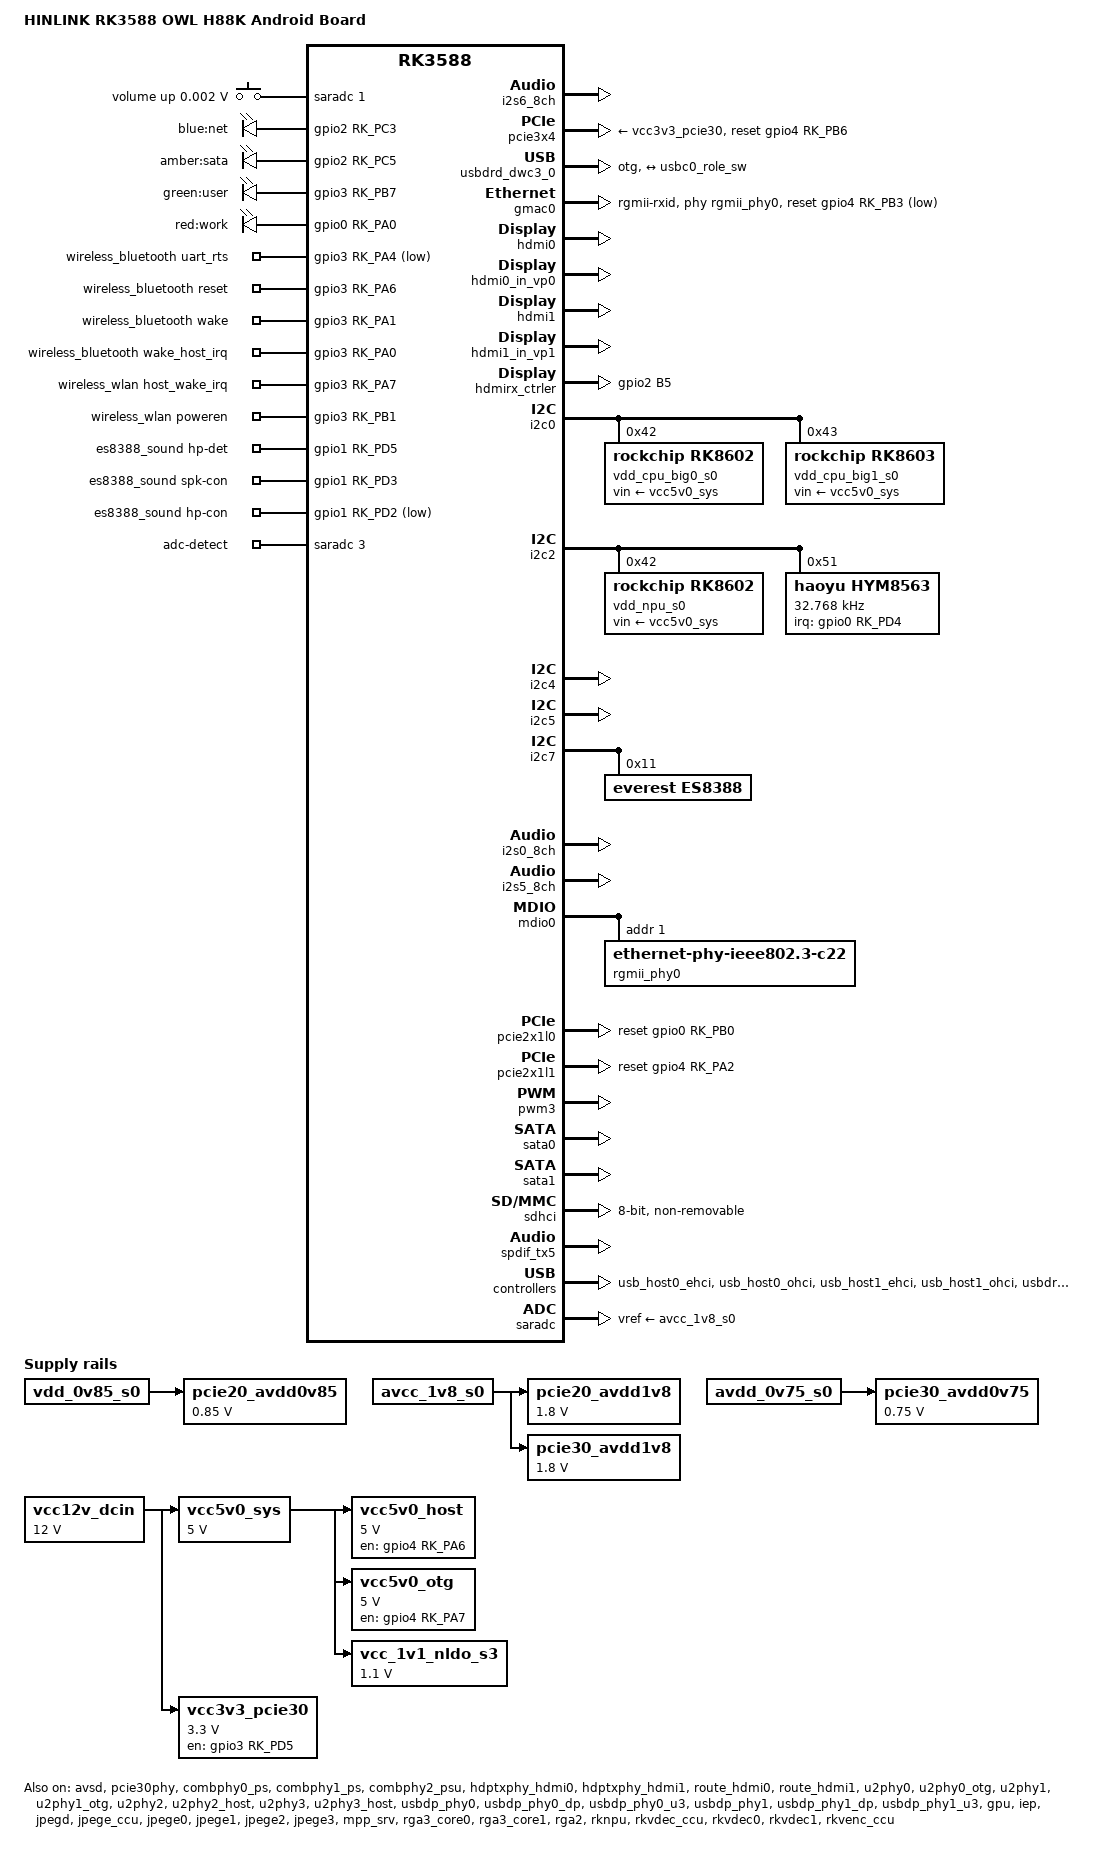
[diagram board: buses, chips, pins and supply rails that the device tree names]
// SPDX-License-Identifier: (GPL-2.0+ OR MIT)
/*
 * Copyright (c) 2021 Rockchip Electronics Co., Ltd.
 *
 */

/dts-v1/;
#include "dt-bindings/usb/pd.h"
#include <dt-bindings/gpio/gpio.h>
#include <dt-bindings/pwm/pwm.h>
#include <dt-bindings/pinctrl/rockchip.h>
#include <dt-bindings/input/rk-input.h>
#include <dt-bindings/display/drm_mipi_dsi.h>
#include <dt-bindings/display/rockchip_vop.h>
#include <dt-bindings/sensor-dev.h>
#include "rk3588.dtsi"
#include "rk3588-rk806-single.dtsi"
#include "rk3588-android.dtsi"

/ {
	model = "HINLINK RK3588 OWL H88K Android Board";
	compatible = "hinlink,rk3588-hinlink-h88k", "rockchip,rk3588";
	/* If hdmirx node is disabled, delete the reserved-memory node here. */
	reserved-memory {
		#address-cells = <2>;
		#size-cells = <2>;
		ranges;

		/* Reserve 128MB memory for hdmirx-controller@fdee0000 */
		cma {
			compatible = "shared-dma-pool";
			reusable;
			reg = <0x0 (256 * 0x100000) 0x0 (128 * 0x100000)>;
			linux,cma-default;
		};
	};

	adc_keys: adc-keys {
		compatible = "adc-keys";
		io-channels = <&saradc 1>;
		io-channel-names = "buttons";
		keyup-threshold-microvolt = <1800000>;
		poll-interval = <100>;

		vol-up-key {
			label = "volume up";
			linux,code = <KEY_VOLUMEUP>;
			press-threshold-microvolt = <1750>;
		};
	};

	hdmiin_dc: hdmiin-dc {
		compatible = "rockchip,dummy-codec";
		#sound-dai-cells = <0>;
	};

	hdmiin-sound {
		compatible = "simple-audio-card";
		simple-audio-card,format = "i2s";
		simple-audio-card,name = "rockchip,hdmiin";
		simple-audio-card,bitclock-master = <&dailink0_master>;
		simple-audio-card,frame-master = <&dailink0_master>;
		status = "okay";
		simple-audio-card,cpu {
			sound-dai = <&i2s7_8ch>;
		};
		dailink0_master: simple-audio-card,codec {
			sound-dai = <&hdmiin_dc>;
		};
	};


	leds {
		compatible = "gpio-leds";
		pinctrl-names = "default";
		pinctrl-0 = <&led_net_en>, <&led_sata_en>,
			    <&led_user_en>, <&led_work_en>;

		net {
			label = "blue:net";
			gpios = <&gpio2 RK_PC3 GPIO_ACTIVE_HIGH>;
		};

		sata {
			label = "amber:sata";
			gpios = <&gpio2 RK_PC5 GPIO_ACTIVE_HIGH>;
		};

		user {
			label = "green:user";
			gpios = <&gpio3 RK_PB7 GPIO_ACTIVE_HIGH>;
		};

		work {
			label = "red:work";
			gpios = <&gpio0 RK_PA0 GPIO_ACTIVE_HIGH>;
			linux,default-trigger = "default-on";
		};
	};

	vcc12v_dcin: vcc12v-dcin {
		compatible = "regulator-fixed";
		regulator-name = "vcc12v_dcin";
		regulator-always-on;
		regulator-boot-on;
		regulator-min-microvolt = <12000000>;
		regulator-max-microvolt = <12000000>;
	};

	vcc5v0_sys: vcc5v0-sys {
		compatible = "regulator-fixed";
		regulator-name = "vcc5v0_sys";
		regulator-always-on;
		regulator-boot-on;
		regulator-min-microvolt = <5000000>;
		regulator-max-microvolt = <5000000>;
		vin-supply = <&vcc12v_dcin>;
	};

	vcc5v0_host: vcc5v0-host-regulator {
		compatible = "regulator-fixed";
		regulator-name = "vcc5v0_host";
		regulator-boot-on;
		regulator-always-on;
		regulator-min-microvolt = <5000000>;
		regulator-max-microvolt = <5000000>;
		enable-active-high;
		gpio = <&gpio4 RK_PA6 GPIO_ACTIVE_HIGH>;
		vin-supply = <&vcc5v0_sys>;
		pinctrl-names = "default";
		pinctrl-0 = <&vcc5v0_host_en>;
	};

	vcc5v0_otg: vcc5v0-otg-regulator {
		compatible = "regulator-fixed";
		regulator-name = "vcc5v0_otg";
		regulator-min-microvolt = <5000000>;
		regulator-max-microvolt = <5000000>;
		enable-active-high;
		gpio = <&gpio4 RK_PA7 GPIO_ACTIVE_HIGH>;
		vin-supply = <&vcc5v0_sys>;
		pinctrl-names = "default";
		pinctrl-0 = <&vcc5v0_otg_en>;
	};

	pcie20_avdd0v85: pcie20-avdd0v85 {
		compatible = "regulator-fixed";
		regulator-name = "pcie20_avdd0v85";
		regulator-boot-on;
		regulator-always-on;
		regulator-min-microvolt = <850000>;
		regulator-max-microvolt = <850000>;
		vin-supply = <&vdd_0v85_s0>;
	};

	pcie20_avdd1v8: pcie20-avdd1v8 {
		compatible = "regulator-fixed";
		regulator-name = "pcie20_avdd1v8";
		regulator-boot-on;
		regulator-always-on;
		regulator-min-microvolt = <1800000>;
		regulator-max-microvolt = <1800000>;
		vin-supply = <&avcc_1v8_s0>;
	};

	pcie30_avdd0v75: pcie30-avdd0v75 {
		compatible = "regulator-fixed";
		regulator-name = "pcie30_avdd0v75";
		regulator-boot-on;
		regulator-always-on;
		regulator-min-microvolt = <750000>;
		regulator-max-microvolt = <750000>;
		vin-supply = <&avdd_0v75_s0>;
	};

	pcie30_avdd1v8: pcie30-avdd1v8 {
		compatible = "regulator-fixed";
		regulator-name = "pcie30_avdd1v8";
		regulator-boot-on;
		regulator-always-on;
		regulator-min-microvolt = <1800000>;
		regulator-max-microvolt = <1800000>;
		vin-supply = <&avcc_1v8_s0>;
	};

	vcc3v3_pcie30: vcc3v3-pcie30 {
		compatible = "regulator-fixed";
		regulator-name = "vcc3v3_pcie30";
		regulator-min-microvolt = <3300000>;
		regulator-max-microvolt = <3300000>;
		enable-active-high;
		gpios = <&gpio3 RK_PD5 GPIO_ACTIVE_HIGH>;
		startup-delay-us = <5000>;
		vin-supply = <&vcc12v_dcin>;
	};

	vcc_1v1_nldo_s3: vcc-1v1-nldo-s3 {
		compatible = "regulator-fixed";
		regulator-name = "vcc_1v1_nldo_s3";
		regulator-always-on;
		regulator-boot-on;
		regulator-min-microvolt = <1100000>;
		regulator-max-microvolt = <1100000>;
		vin-supply = <&vcc5v0_sys>;
	};

	dp0_sound: dp0-sound {
		status = "disabled";
		compatible = "rockchip,hdmi";
		rockchip,card-name= "rockchip,dp0";
		rockchip,mclk-fs = <512>;
		rockchip,cpu = <&spdif_tx2>;
		rockchip,codec = <&dp0 1>;
		rockchip,jack-det;
	};

	dp1_sound: dp1-sound {
		status = "disabled";
		compatible = "rockchip,hdmi";
		rockchip,card-name= "rockchip,dp1";
		rockchip,mclk-fs = <512>;
		rockchip,cpu = <&spdif_tx5>;
		rockchip,codec = <&dp1 1>;
		rockchip,jack-det;
	};

	hdmi0_sound: hdmi0-sound {
		status = "disabled";
		compatible = "simple-audio-card";
		simple-audio-card,format = "i2s";
		simple-audio-card,mclk-fs = <128>;
		simple-audio-card,name = "rockchip,hdmi0";

		simple-audio-card,cpu {
			sound-dai = <&i2s5_8ch>;
		};
		simple-audio-card,codec {
			sound-dai = <&hdmi0>;
		};
	};

	hdmi1_sound: hdmi1-sound {
		status = "disabled";
		compatible = "simple-audio-card";
		simple-audio-card,format = "i2s";
		simple-audio-card,mclk-fs = <128>;
		simple-audio-card,name = "rockchip,hdmi1";

		simple-audio-card,cpu {
			sound-dai = <&i2s6_8ch>;
		};
		simple-audio-card,codec {
			sound-dai = <&hdmi1>;
		};
	};
	
	wireless_bluetooth: wireless-bluetooth {
		compatible = "bluetooth-platdata";
		clocks = <&hym8563>;
		clock-names = "ext_clock";
		uart_rts_gpios = <&gpio3 RK_PA4 GPIO_ACTIVE_LOW>;	//GPIO3_A4_d UART8_RTSn_M1_BT
		pinctrl-names = "default", "rts_gpio";
		pinctrl-0 = <&uart8m1_rtsn>, <&bt_reset_gpio>, <&bt_wake_gpio>, <&bt_irq_gpio>;
		pinctrl-1 = <&uart8_gpios>;
		BT,reset_gpio    = <&gpio3 RK_PA6 GPIO_ACTIVE_HIGH>;	//GPIO3_A6_d BT_REG_ON_H
		BT,wake_gpio     = <&gpio3 RK_PA1 GPIO_ACTIVE_HIGH>;	//GPIO3_A1_u HOST_WAKE_BT_H
		BT,wake_host_irq = <&gpio3 RK_PA0 GPIO_ACTIVE_HIGH>;	//GPIO3_A0_u BT_WAKE_HOST_H
		status = "okay";
	};

	wireless_wlan: wireless-wlan {
		compatible = "wlan-platdata";
		wifi_chip_type = "ap6255";
		pinctrl-names = "default";
		pinctrl-0 = <&wifi_host_wake_irq>, <&wifi_poweren_gpio>;
		WIFI,host_wake_irq = <&gpio3 RK_PA7 GPIO_ACTIVE_HIGH>;		//GPIO3_A7_u WIFI_WAKE_HOST_H
		WIFI,poweren_gpio = <&gpio3 RK_PB1 GPIO_ACTIVE_HIGH>;		//GPIO3_B1_d WIFI_REG_ON_H
		status = "okay";
	};

	es8388_sound: es8388-sound {
		status = "okay";
		compatible = "rockchip,multicodecs-card";
		rockchip,card-name = "rockchip-es8388";
		hp-det-gpio = <&gpio1 RK_PD5 GPIO_ACTIVE_HIGH>;	// GPIO1_D5_d HP_DET_L
		io-channels = <&saradc 3>;
		io-channel-names = "adc-detect";
		keyup-threshold-microvolt = <1800000>;
		poll-interval = <100>;
		spk-con-gpio = <&gpio1 RK_PD3 GPIO_ACTIVE_HIGH>;	// GPIO1_D3_d SPK_CTL_H
		hp-con-gpio = <&gpio1 RK_PD2 GPIO_ACTIVE_LOW>;		//GPIO1_D2_d PHONE_CTL
		rockchip,format = "i2s";
		rockchip,mclk-fs = <256>;
		rockchip,cpu = <&i2s0_8ch>;
		rockchip,codec = <&es8388>;
		rockchip,audio-routing =
			"Headphone", "LOUT1",
			"Headphone", "ROUT1",
			"Speaker", "LOUT2",
			"Speaker", "ROUT2",
			"Headphone", "Headphone Power",
			"Headphone", "Headphone Power",
			"Speaker", "Speaker Power",
			"Speaker", "Speaker Power",
			"LINPUT1", "Main Mic",
			"LINPUT2", "Main Mic",
			"RINPUT1", "Headset Mic",
			"RINPUT2", "Headset Mic";
		pinctrl-names = "default";
		pinctrl-0 = <&hp_det>;
		play-pause-key {
			label = "playpause";
			linux,code = <KEY_PLAYPAUSE>;
			press-threshold-microvolt = <2000>;
		};
	};
	
	test-power {
		status = "okay";
	};
};

&avsd {
	status = "okay";
};

&i2s6_8ch {
	status = "disabled";
};

&pcie30phy {
	status = "disabled";
};

&pcie3x4 {
	status = "disabled";
};

&usbdrd_dwc3_0 {
	dr_mode = "otg";
	extcon = <&u2phy0>;
	status = "okay";
};

&combphy0_ps {
	pinctrl-names = "default";
	pinctrl-0 = <&sata0_pm_reset>;
	status = "okay";
};

&combphy1_ps {
	pinctrl-names = "default";
	pinctrl-0 = <&sata1_pm_reset>;
	status = "okay";
};

&combphy2_psu {
	status = "okay";
};

&dp0 {
	pinctrl-0 = <&dp0m2_pins>;
	pinctrl-names = "default";
	status = "disabled";
};

&dp0_in_vp0 {
	status = "disabled";
};

&dp0_in_vp1 {
	status = "disabled";
};

&dp0_in_vp2 {
	status = "disabled";
};

&dp1 {
	pinctrl-0 = <&dp1m2_pins &dp1_hdmi_ctl>;
	pinctrl-names = "default";
	status = "disabled";
};

&dp1_in_vp0 {
	status = "disabled";
};

&dp1_in_vp1 {
	status = "disabled";
};

&dp1_in_vp2 {
	status = "disabled";
};

&dp1_sound {
	status = "disabled";
};

&gmac0 {
	/* Use rgmii-rxid mode to disable rx delay inside Soc */
	phy-mode = "rgmii-rxid";
	clock_in_out = "output";

	snps,reset-gpio = <&gpio4 RK_PB3 GPIO_ACTIVE_LOW>;
	snps,reset-active-low;
	/* Reset time is 20ms, 100ms for rtl8211f */
	snps,reset-delays-us = <0 20000 100000>;

	pinctrl-names = "default";
	pinctrl-0 = <&gmac0_miim
		     &gmac0_tx_bus2
		     &gmac0_rx_bus2
		     &gmac0_rgmii_clk
		     &gmac0_rgmii_bus>;

	tx_delay = <0x44>;
	/* rx_delay = <0x4f>; */

	phy-handle = <&rgmii_phy0>;
	status = "okay";
};

&hdmi0 {
	enable-gpios = <&gpio4 RK_PB1 GPIO_ACTIVE_HIGH>;
	status = "okay";
};

&hdmi0_in_vp0 {
	status = "okay";
};

&hdmi0_in_vp1 {
	status = "disabled";
};

&hdmi0_in_vp2 {
	status = "disabled";
};

&hdmi0_sound {
	status = "okay";
};

&hdmi1 {
	enable-gpios = <&gpio4 RK_PB2 GPIO_ACTIVE_HIGH>;
	status = "okay";
};

&hdmi1_in_vp0 {
	status = "disabled";
};

&hdmi1_in_vp1 {
	status = "okay";
};

&hdmi1_in_vp2 {
	status = "disabled";
};

&hdmi1_sound {
	status = "okay";
};

/* Should work with at least 128MB cma reserved above. */
&hdmirx_ctrler {
	status = "okay";

	/* Effective level used to trigger HPD: 0-low, 1-high */
	hpd-trigger-level = <1>;
	hdmirx-det-gpios = <&gpio2 RK_PB5 GPIO_ACTIVE_LOW>;
	pinctrl-names = "default";
	pinctrl-0 = <&hdmim1_rx &hdmirx_det>;
};

&hdptxphy_hdmi0 {
	status = "okay";
};

&hdptxphy_hdmi1 {
	status = "okay";
};

&i2c0 {
	status = "okay";
	pinctrl-names = "default";
	pinctrl-0 = <&i2c0m2_xfer>;

	vdd_cpu_big0_s0: vdd_cpu_big0_mem_s0: rk8602@42 {
		compatible = "rockchip,rk8602";
		reg = <0x42>;
		vin-supply = <&vcc5v0_sys>;
		regulator-compatible = "rk860x-reg";
		regulator-name = "vdd_cpu_big0_s0";
		regulator-min-microvolt = <550000>;
		regulator-max-microvolt = <1050000>;
		regulator-ramp-delay = <2300>;
		rockchip,suspend-voltage-selector = <1>;
		regulator-boot-on;
		regulator-always-on;
		regulator-state-mem {
			regulator-off-in-suspend;
		};
	};

	vdd_cpu_big1_s0: vdd_cpu_big1_mem_s0: rk8603@43 {
		compatible = "rockchip,rk8603";
		reg = <0x43>;
		vin-supply = <&vcc5v0_sys>;
		regulator-compatible = "rk860x-reg";
		regulator-name = "vdd_cpu_big1_s0";
		regulator-min-microvolt = <550000>;
		regulator-max-microvolt = <1050000>;
		regulator-ramp-delay = <2300>;
		rockchip,suspend-voltage-selector = <1>;
		regulator-boot-on;
		regulator-always-on;
		regulator-state-mem {
			regulator-off-in-suspend;
		};
	};
};

&i2c2 {
	status = "okay";

	vdd_npu_s0: vdd_npu_mem_s0: rk8602@42 {
		compatible = "rockchip,rk8602";
		reg = <0x42>;
		vin-supply = <&vcc5v0_sys>;
		regulator-compatible = "rk860x-reg";
		regulator-name = "vdd_npu_s0";
		regulator-min-microvolt = <550000>;
		regulator-max-microvolt = <950000>;
		regulator-ramp-delay = <2300>;
		rockchip,suspend-voltage-selector = <1>;
		regulator-boot-on;
		regulator-always-on;
		regulator-state-mem {
			regulator-off-in-suspend;
		};
	};


	hym8563: hym8563@51 {
		compatible = "haoyu,hym8563";
		reg = <0x51>;
		#clock-cells = <0>;
		clock-frequency = <32768>;
		clock-output-names = "hym8563";
		pinctrl-names = "default";
		pinctrl-0 = <&hym8563_int>;
		interrupt-parent = <&gpio0>;
		interrupts = <RK_PD4 IRQ_TYPE_LEVEL_LOW>;	//GPIO0_D4_u RTC_INT_L
		wakeup-source;
	};
};

&i2c4 {
	status = "okay";
	pinctrl-names = "default";
	pinctrl-0 = <&i2c4m3_xfer>;
};

&i2c5 {
	status = "okay";
};

&i2c7 {
	status = "okay";
	es8388: es8388@11 {
		status = "okay";
		#sound-dai-cells = <0>;
		compatible = "everest,es8388", "everest,es8323";
		reg = <0x11>;
		clocks = <&cru I2S0_8CH_MCLKOUT>;
		clock-names = "mclk";
		assigned-clocks = <&cru I2S0_8CH_MCLKOUT>;
		assigned-clock-rates = <12288000>;
		pinctrl-names = "default";
		pinctrl-0 = <&i2s0_mclk>;
	};
};

&i2s0_8ch {
	status = "okay";
	pinctrl-0 = <&i2s0_lrck
		     &i2s0_sclk
		     &i2s0_sdi0
		     &i2s0_sdo0>;
};

&i2s5_8ch {
	status = "okay";
};

&i2s6_8ch {
	status = "okay";
};

&mdio0 {
	rgmii_phy0: phy@1 {
		compatible = "ethernet-phy-ieee802.3-c22";
		reg = <0x1>;
	};
};

&pcie2x1l0 {
	reset-gpios = <&gpio0 RK_PB0 GPIO_ACTIVE_HIGH>;
	status = "okay";
};

&pcie2x1l1 {
	reset-gpios = <&gpio4 RK_PA2 GPIO_ACTIVE_HIGH>;
	status = "okay";
};

&pcie3x4 {
	reset-gpios = <&gpio4 RK_PB6 GPIO_ACTIVE_HIGH>;
	vpcie3v3-supply = <&vcc3v3_pcie30>;
	status = "okay";
};

&pcie30phy {
	rockchip,pcie30-phymode = <PHY_MODE_PCIE_AGGREGATION>;
	status = "okay";
};

&pwm3 {
	compatible = "rockchip,remotectl-pwm";
	pinctrl-names = "default";
	pinctrl-0 = <&pwm3m0_pins>;
	remote_pwm_id = <3>;
	handle_cpu_id = <1>;
	remote_support_psci = <0>;
	status = "okay";

	ir_key1 {
		rockchip,usercode = <0xff00>;
		rockchip,key_table =
			<0xe7	KEY_POWER>,	
			<0xa4	KEY_MUTE>,	
			<0xb9	KEY_UP>,	
			<0xe9	KEY_DOWN>,	
			<0xb8	KEY_LEFT>,
			<0xea	KEY_RIGHT>,
			<0xaa	KEY_ENTER>,
			<0xbf	KEY_BACK>,
			<0xfb	KEY_MENU>,
			<0xef	KEY_VOLUMEDOWN>,
			<0xeb	KEY_VOLUMEUP>,	
			<0xaf	KEY_PAGEUP>,	
			<0xad	KEY_PAGEDOWN>,				
			<0xb1	KEY_HOME>,	
			<0xb0	KEY_F1>,	
			<0xe3	KEY_F2>;		
	};

};

&rk806single {
	pinctrl-names = "default", "pmic-power-off";
	pinctrl-0 = <&pmic_pins>, <&rk806_dvs1_null>, <&rk806_dvs2_null>, <&rk806_dvs3_null>;
	pinctrl-1 = <&rk806_dvs1_slp>, <&rk806_dvs2_null>, <&rk806_dvs3_null>;

	regulators {
		avcc_1v8_s0: PLDO_REG1 {
			regulator-always-on;
			regulator-boot-on;
			regulator-min-microvolt = <1800000>;
			regulator-max-microvolt = <1800000>;
			regulator-name = "avcc_1v8_s0";
			regulator-state-mem {
				regulator-on-in-suspend;
				regulator-suspend-microvolt = <1800000>;
			};
		};
	};
};

&rockchip_suspend {
	status = "okay";
	rockchip,sleep-debug-en = <1>;
	rockchip,virtual-poweroff = <1>;
	rockchip,sleep-mode-config = <
		(0
		| RKPM_SLP_ARMOFF_DDRPD
		)
	>;
	rockchip,wakeup-config = <
		(0
		| RKPM_CPU0_WKUP_EN
		| RKPM_GPIO_WKUP_EN
		)
	>;
};

&route_dp0 {
	status = "disabled";
	force-output;
	connect = <&vp2_out_dp0>;

};

&route_hdmi0 {
	status = "okay";
	force-output;
	connect = <&vp0_out_hdmi0>;
};

&route_hdmi1 {
	status = "okay";
	force-output;
	connect = <&vp1_out_hdmi1>;
};

&sata0 {
	status = "okay";
};

&sata1 {
	status = "okay";
};

&sdhci {
	bus-width = <8>;
	no-sdio;
	no-sd;
	non-removable;
	max-frequency = <200000000>;
	mmc-hs400-1_8v;
	mmc-hs400-enhanced-strobe;
	status = "okay";
};

&spdif_tx5 {
	status = "okay";
};

&u2phy0 {
	status = "okay";
};

&u2phy0_otg {
	vbus-supply = <&vcc5v0_usb_otg>;
	status = "okay";
};

&u2phy1 {
	status = "okay";
};

&u2phy1_otg {
	phy-supply = <&vcc5v0_usb_host>;
	status = "okay";
};

&u2phy2 {
	status = "okay";
};

&u2phy2_host {
	status = "okay";
};

&u2phy3 {
	status = "okay";
};

&u2phy3_host {
	status = "okay";
};

&usb_host0_ehci {
	status = "okay";
};

&usb_host0_ohci {
	status = "okay";
};

&usb_host1_ehci {
	status = "okay";
};

&usb_host1_ohci {
	status = "okay";
};

&usbdp_phy0 {
	orientation-switch;
	rockchip,dp-lane-mux = < 0 1 2 3 >;
	sbu1-dc-gpios = <&gpio0 RK_PC6 GPIO_ACTIVE_HIGH>;
	sbu2-dc-gpios = <&gpio0 RK_PD3 GPIO_ACTIVE_HIGH>;
	svid = <0xff01>;
	status = "okay";

	port {
		#address-cells = <1>;
		#size-cells = <0>;
		usbdp_phy0_orientation_switch: endpoint@0 {
			reg = <0>;
			remote-endpoint = <&usbc0_orien_sw>;
		};

		usbdp_phy0_dp_altmode_mux: endpoint@1 {
			reg = <1>;
			remote-endpoint = <&dp_altmode_mux>;
		};
	};
};

&usbdp_phy0_dp {
	status = "okay";
};

&usbdp_phy0_u3 {
	status = "okay";
};

&usbdp_phy1 {
	status = "okay";
};

&usbdp_phy1_dp {
	status = "okay";
};

&usbdp_phy1_u3 {
	status = "okay";
};

&usbdrd3_0 {
	status = "okay";
};

&usbdrd_dwc3_0 {
	usb-role-switch;
	status = "okay";

	port {
		#address-cells = <1>;
		#size-cells = <0>;
		dwc3_0_role_switch: endpoint@0 {
			reg = <0>;
			remote-endpoint = <&usbc0_role_sw>;
		};
	};
};

&usbdrd3_1 {
	status = "okay";
};

&usbdrd_dwc3_1 {
	status = "okay";
};

&vdd_log_s0 {
	regulator-state-mem {
		regulator-on-in-suspend;
		regulator-suspend-microvolt = <750000>;
	};
};

&pcie2x1l1 {
	reset-gpios = <&gpio4 RK_PA2 GPIO_ACTIVE_HIGH>;
	status = "okay";
};

&sata2 {
	status = "disabled";
}; 

&combphy2_psu {
	status = "okay";
};

&vdd_vdenc_s0 {
	regulator-init-microvolt = <750000>;
};

&av1d_mmu {
	status = "okay";
};

&display_subsystem {
	clocks = <&hdptxphy_hdmi_clk0>, <&hdptxphy_hdmi_clk1>;
	clock-names = "hdmi0_phy_pll", "hdmi1_phy_pll";
};

&gpu {
	mali-supply = <&vdd_gpu_s0>;
	mem-supply = <&vdd_gpu_mem_s0>;
	status = "okay";
};

&hdptxphy_hdmi_clk0 {
	status = "okay";
};

&hdptxphy_hdmi_clk1 {
	status = "okay";
};

&iep {
	status = "okay";
};

&iep_mmu {
	status = "okay";
};

&jpegd {
	status = "okay";
};

&jpegd_mmu {
	status = "okay";
};

&jpege_ccu {
	status = "okay";
};

&jpege0 {
	status = "okay";
};

&jpege0_mmu {
	status = "okay";
};

&jpege1 {
	status = "okay";
};

&jpege1_mmu {
	status = "okay";
};

&jpege2 {
	status = "okay";
};

&jpege2_mmu {
	status = "okay";
};

&jpege3 {
	status = "okay";
};

&jpege3_mmu {
	status = "okay";
};

&mpp_srv {
	status = "okay";
};

&rga3_core0 {
	status = "okay";
};

&rga3_0_mmu {
	status = "okay";
};

&rga3_core1 {
	status = "okay";
};

&rga3_1_mmu {
	status = "okay";
};

&rga2 {
	status = "okay";
};

&rknpu {
	rknpu-supply = <&vdd_npu_s0>;
	mem-supply = <&vdd_npu_mem_s0>;
	status = "okay";
};

&rknpu_mmu {
	status = "okay";
};

&rkvdec_ccu {
	status = "okay";
};

&rkvdec0 {
	status = "okay";
};

&rkvdec0_mmu {
	status = "okay";
};

&rkvdec1 {
	status = "okay";
};

&rkvdec1_mmu {
	status = "okay";
};

&rkvenc_ccu {
	status = "okay";
};

&rkvenc0 {
	status = "okay";
};

&rkvenc0_mmu {
	status = "okay";
};

&rkvenc1 {
	status = "okay";
};

&rkvenc1_mmu {
	status = "okay";
};

&saradc {
	status = "okay";
	vref-supply = <&avcc_1v8_s0>;
};

&tsadc {
	status = "okay";
};

&vdpu {
	status = "okay";
};

&vdpu_mmu {
	status = "okay";
};

&vepu {
	status = "okay";
};

&vop {
	assigned-clocks = <&cru ACLK_VOP>;
	assigned-clock-rates = <800000000>;
	status = "okay";
};

&vop_mmu {
	status = "okay";
};

/* vp0 & vp1 splice for 8K output */
&vp0 {
	rockchip,plane-mask = <(1 << ROCKCHIP_VOP2_CLUSTER0 | 1 << ROCKCHIP_VOP2_ESMART0)>;
	rockchip,primary-plane = <ROCKCHIP_VOP2_ESMART0>;
};

&vp1 {
	rockchip,plane-mask = <(1 << ROCKCHIP_VOP2_CLUSTER1 | 1 << ROCKCHIP_VOP2_ESMART1)>;
	rockchip,primary-plane = <ROCKCHIP_VOP2_ESMART1>;
};

&vp2 {
	rockchip,plane-mask = <(1 << ROCKCHIP_VOP2_CLUSTER2 | 1 << ROCKCHIP_VOP2_ESMART2)>;
	rockchip,primary-plane = <ROCKCHIP_VOP2_ESMART2>;
};

&vp3 {
	rockchip,plane-mask = <(1 << ROCKCHIP_VOP2_CLUSTER3 | 1 << ROCKCHIP_VOP2_ESMART3)>;
	rockchip,primary-plane = <ROCKCHIP_VOP2_ESMART3>;
};
&pinctrl {

	leds {
		led_net_en: led_net_en {
			rockchip,pins = <2 RK_PC3 RK_FUNC_GPIO &pcfg_pull_none>;
		};

		led_sata_en: led_sata_en {
			rockchip,pins = <2 RK_PC5 RK_FUNC_GPIO &pcfg_pull_none>;
		};

		led_user_en: led_user_en {
			rockchip,pins = <3 RK_PB7 RK_FUNC_GPIO &pcfg_pull_none>;
		};

		led_work_en: led_work_en {
			rockchip,pins = <0 RK_PA0 RK_FUNC_GPIO &pcfg_pull_none>;
		};
	};
	
	dp {
		dp1_hdmi_ctl: dp-hdmi-ctl {
			rockchip,pins = <0 RK_PD5 RK_FUNC_GPIO &pcfg_pull_up>,
					<3 RK_PB2 RK_FUNC_GPIO &pcfg_pull_up>;
		};
	};
	hdmi {
		hdmirx_det: hdmirx-det {
			rockchip,pins = <2 RK_PB5 RK_FUNC_GPIO &pcfg_pull_up>;
		};
	};

	headphone {
		hp_det: hp-det {
			rockchip,pins = <1 RK_PD5 RK_FUNC_GPIO &pcfg_pull_none>;	// GPIO1_D5_d HP_DET_L
		};
	};
	
	hym8563 {
		hym8563_int: hym8563-int {
			rockchip,pins = <0 RK_PD4 RK_FUNC_GPIO &pcfg_pull_up>;	//GPIO0_D4_u RTC_INT_L
		};
	};


	usb {
		vcc5v0_usb_host_en: vcc5v0_usb_host_en {
			rockchip,pins = <4 RK_PB0 RK_FUNC_GPIO &pcfg_pull_none>;
		};

		vcc5v0_usb_hub_en: vcc5v0_usb_hub_en {
			rockchip,pins = <4 RK_PA6 RK_FUNC_GPIO &pcfg_pull_none>;
		};

		vcc5v0_usb_otg_en: vcc5v0_usb_otg_en {
			rockchip,pins = <4 RK_PA7 RK_FUNC_GPIO &pcfg_pull_none>;
		};
	};

	usb-typec {
		usbc0_int: usbc0-int {
			rockchip,pins = <1 RK_PA0 RK_FUNC_GPIO &pcfg_pull_up>;
		};
	};

	sata {
		sata0_pm_reset: sata0-pm-reset {
			rockchip,pins = <4 RK_PA0 RK_FUNC_GPIO &pcfg_output_high>;
		};
		sata1_pm_reset: sata1-pm-reset {
			rockchip,pins = <4 RK_PA1 RK_FUNC_GPIO &pcfg_output_high>;
		};
	};
	
	wireless-bluetooth {
		uart8_gpios: uart8-gpios {
			rockchip,pins = <3 RK_PA4 RK_FUNC_GPIO &pcfg_pull_none>;	//GPIO3_A4_d UART8_RTSn_M1_BT
		};

		bt_reset_gpio: bt-reset-gpio {
			rockchip,pins = <3 RK_PA6 RK_FUNC_GPIO &pcfg_pull_none>;	//GPIO3_A6_d BT_REG_ON_H
		};

		bt_wake_gpio: bt-wake-gpio {
			rockchip,pins = <3 RK_PA1 RK_FUNC_GPIO &pcfg_pull_none>;	//GPIO3_A1_u HOST_WAKE_BT_H
		};

		bt_irq_gpio: bt-irq-gpio {
			rockchip,pins = <3 RK_PA0 RK_FUNC_GPIO &pcfg_pull_down>;	//GPIO3_A0_u BT_WAKE_HOST_H
		};
	};

	wireless-wlan {
		wifi_host_wake_irq: wifi-host-wake-irq {
			rockchip,pins = <3 RK_PA7 RK_FUNC_GPIO &pcfg_pull_down>;		//GPIO3_A7_u WIFI_WAKE_HOST_H
		};

		wifi_poweren_gpio: wifi-poweren-gpio {
			rockchip,pins = <3 RK_PB1 RK_FUNC_GPIO &pcfg_pull_up>;	//GPIO3_B1_d WIFI_REG_ON_H
		};
	};
};
